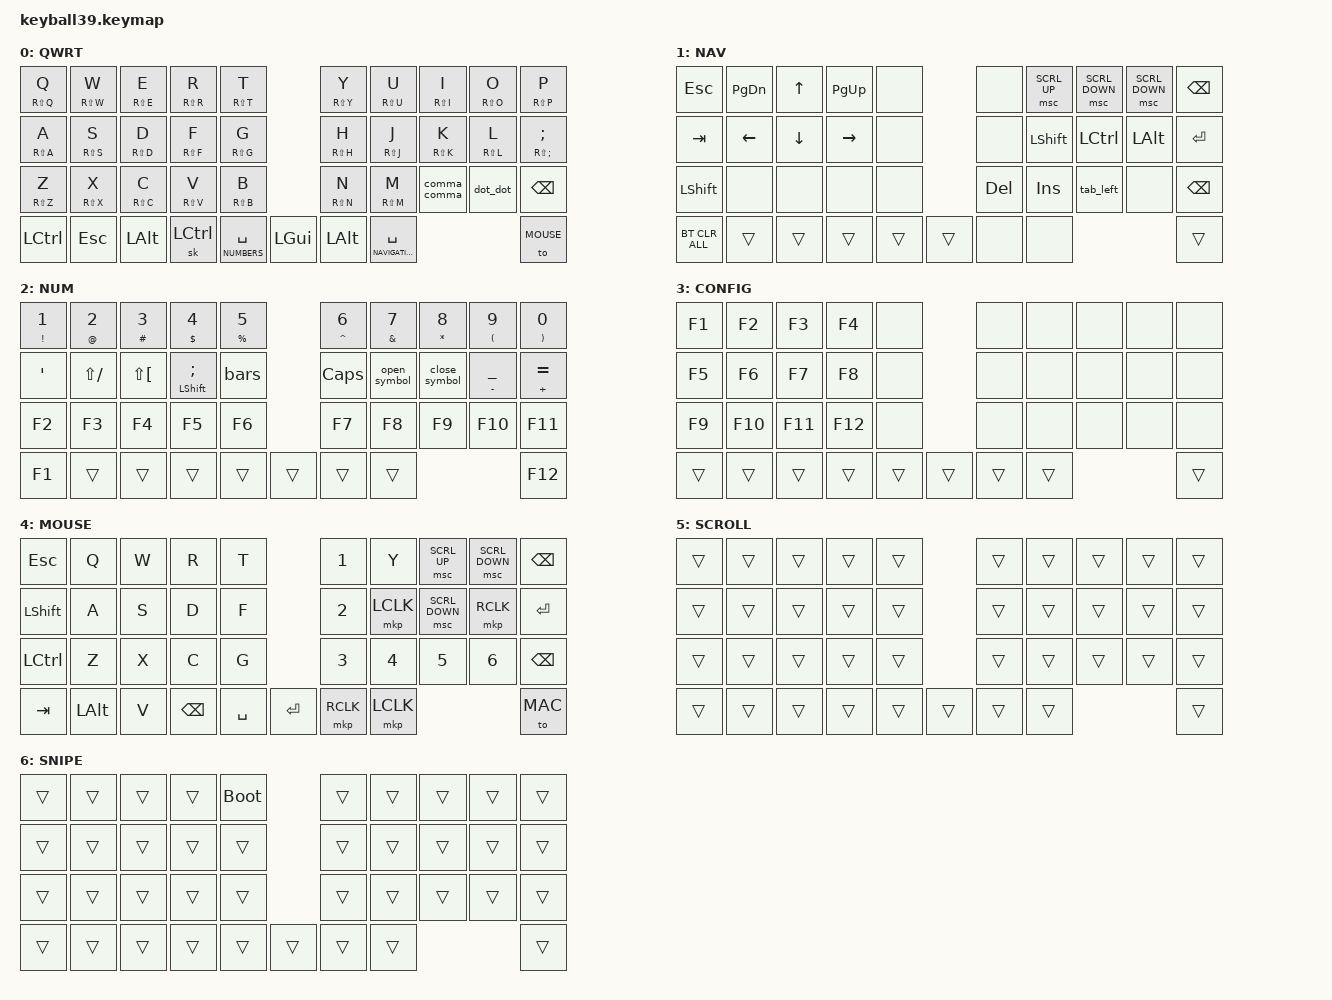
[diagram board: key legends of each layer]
#define MAC 0
#define NAVIGATION 1
#define NUMBERS 2
#define CONFIG 3
#define MOUSE 4


#include <behaviors/mouse_keys.dtsi>
#include <dt-bindings/zmk/mouse.h>
#include <behaviors.dtsi>
#include <dt-bindings/zmk/bt.h>
#include <dt-bindings/zmk/keys.h>

&lt {
    tapping-term-ms = <240>;
    flavor = "balanced";
    quick-tap-ms = <150>;
};

&mt {
    tapping-term-ms = <200>;
    flavor = "tap-preferred";
    quick-tap-ms = <150>;
};

&caps_word { continue-list = <UNDERSCORE MINUS>; };

/ {
    // custom shift using mod-morph

    behaviors {
        cmqus: comma_question {
            compatible = "zmk,behavior-mod-morph";
            label = "COMMA_QUESTION";
            #binding-cells = <0>;
            bindings = <&kp COMMA>, <&kp QUESTION>;
            mods = <(MOD_LSFT|MOD_RSFT)>;
        };

        dtsmi: dot_semi {
            compatible = "zmk,behavior-mod-morph";
            label = "DOT_SEMI";
            #binding-cells = <0>;
            bindings = <&kp DOT>, <&kp SEMI>;
            mods = <(MOD_LSFT|MOD_RSFT)>;
        };

        open_symbol: td_open {
            compatible = "zmk,behavior-tap-dance";
            label = "TD_OPEN";
            #binding-cells = <0>;
            tapping-term-ms = <200>;
            bindings = <&kp RS(RIGHT_BRACKET)>, <&kp RS(NUMBER_9)>, <&kp RIGHT_BRACKET>, <&kp LT>;
        };

        close_symbol: td_close {
            compatible = "zmk,behavior-tap-dance";
            label = "TD_CLOSE";
            #binding-cells = <0>;
            tapping-term-ms = <200>;
            bindings = <&kp RS(BACKSLASH)>, <&kp RS(NUMBER_0)>, <&kp BACKSLASH>, <&kp GT>;
        };

        dot_dot: dot_dot {
            compatible = "zmk,behavior-tap-dance";
            label = "DOT_DOT";
            #binding-cells = <0>;
            tapping-term-ms = <200>;
            bindings = <&kp PERIOD>, <&kp LS(SLASH)>;
        };

        comma_comma: comma_comma {
            compatible = "zmk,behavior-tap-dance";
            label = "COMMA_COMMA";
            #binding-cells = <0>;
            tapping-term-ms = <200>;
            bindings = <&kp COMMA>, <&kp SLASH>;
        };

        bars: bars {
            compatible = "zmk,behavior-tap-dance";
            label = "BARS";
            #binding-cells = <0>;
            tapping-term-ms = <200>;
            bindings = <&kp KP_SLASH>, <&kp LS(NON_US_BSLH)>, <&kp NON_US_BACKSLASH>;
        };

        // Conditional behavior for tab navigation
        tab_left: tab_left {
            compatible = "zmk,behavior-mod-morph";
            label = "TAB_LEFT";
            #binding-cells = <0>;
            bindings = <&kp LC(PAGE_UP)>, <&kp LG(LA(LEFT))>;
            mods = <(MOD_LGUI)>;
        };

        tab_right: tab_right {
            compatible = "zmk,behavior-mod-morph";
            label = "TAB_RIGHT";
            #binding-cells = <0>;
            bindings = <&kp LC(PAGE_DOWN)>, <&kp LG(LA(RIGHT))>;
            mods = <(MOD_LGUI)>;
        };
    };




    keymap {
        compatible = "zmk,keymap";

        default_layer {
            label = "QWRT";
            bindings = <
                &mt RS(Q) Q            &mt RS(W) W            &mt RS(E) E            &mt RS(R) R            &mt RS(T) T                                            &mt RS(Y) Y             &mt RS(U) U            &mt RS(I) I            &mt RS(O) O            &mt RS(P) P
                &mt RS(A) A            &mt RS(S) S            &mt RS(D) D            &mt RS(F) F            &mt RS(G) G                                            &mt RS(H) H             &mt RS(J) J            &mt RS(K) K            &mt RS(L) L            &mt RS(SEMI) SEMI
                &mt RS(Z) Z            &mt RS(X) X            &mt RS(C) C            &mt RS(V) V            &mt RS(B) B                                            &mt RS(N) N             &mt RS(M) M            &comma_comma           &dot_dot               &kp BSPC
                &kp LCTRL              &kp ESC                &kp LALT               &sk LEFT_CONTROL       &lt NUMBERS SPACE  &kp LEFT_GUI                        &kp LALT                &lt NAVIGATION SPACE                                                 &to MOUSE

            >;
        };

        navigation_layer {
            label = "NAV";
            bindings = <
                &kp ESC                &kp PAGE_DOWN          &kp UP                 &kp PAGE_UP            &none                                                   &none                  &msc SCRL_UP           &msc SCRL_DOWN         &msc SCRL_DOWN         &kp BSPC
                &kp TAB                &kp LEFT               &kp DOWN               &kp RIGHT              &none                                                   &none                  &kp LEFT_SHIFT         &kp LEFT_CONTROL       &kp LALT               &kp RETURN
                &kp LSHIFT             &none                  &none                  &none                  &none                                                   &kp DEL                &kp INSERT             &tab_left              &none                  &kp BSPC
                &bt BT_CLR_ALL             &trans                 &trans                 &trans                 &trans             &trans                               &none                  &none                                                                &trans
             >;
        };


        number_layer {
            label = "NUM";
            bindings = <
                &mt EXCLAMATION NUMBER_1            &mt AT_SIGN NUMBER_2            &mt HASH NUMBER_3            &mt DOLLAR NUMBER_4                  &mt PERCENT NUMBER_5                              &mt CARET NUMBER_6                  &mt AMPERSAND NUMBER_7                  &mt ASTERISK NUMBER_8                  &mt LEFT_PARENTHESIS NUMBER_9                  &mt RIGHT_PARENTHESIS NUMBER_0
                &kp SINGLE_QUOTE                    &kp LS(SLASH)                   &kp LS(LEFT_BRACKET)         &mt LEFT_SHIFT SEMICOLON             &bars                                             &kp CAPS                            &open_symbol                            &close_symbol                          &mt MINUS UNDER                                &mt PLUS EQUAL
                &kp F2                              &kp F3                          &kp F4                       &kp F5                               &kp F6                                            &kp F7                              &kp F8                                  &kp F9                                 &kp F10                                        &kp F11
                &kp F1                              &trans                          &trans                       &trans                              &trans                                             &trans                              &trans                                  &trans                                                                                &kp F12
            >;
        };


         config_layer {
            label = "CONFIG";
            bindings = <
                &kp F1                 &kp F2                 &kp F3                 &kp F4                 &none                                                 &none                  &none                  &none                  &none                  &none
                &kp F5                 &kp F6                 &kp F7                 &kp F8                 &none                                                 &none                  &none                  &none                  &none                  &none
                &kp F9                 &kp F10                &kp F11                &kp F12                &none                                                 &none                  &none                  &none                  &none                  &none
                &trans                 &trans                 &trans                 &trans                 &trans                 &trans                         &trans                 &trans                 &trans
            >;
        };

        mouse_layer {
            label = "MOUSE";
            bindings = <
                &kp ESC             &kp Q              &kp W             &kp R          &kp T                           &kp NUMBER_1            &kp Y          &msc SCRL_UP       &msc SCRL_DOWN         &kp BSPC
                &kp LSHIFT          &kp A              &kp S             &kp D          &kp F                           &kp NUMBER_2            &mkp LCLK      &msc SCRL_DOWN     &mkp RCLK              &kp RETURN
                &kp LCTRL           &kp Z              &kp X             &kp C          &kp G                           &kp NUMBER_3            &kp NUMBER_4   &kp NUMBER_5       &kp NUMBER_6           &kp BSPC
                &kp TAB             &kp LALT           &kp V             &kp BSPC       &kp SPACE   &kp RETURN          &mkp RCLK  &mkp LCLK                                                             &to MAC
            >;
        };

        scroll_layer {
            label = "SCROLL";
            bindings = <
                &trans                 &trans                 &trans                 &trans                 &trans                                                &trans                 &trans                 &trans                 &trans                 &trans
                &trans                 &trans                 &trans                 &trans                 &trans                                                &trans                 &trans                 &trans                 &trans                 &trans
                &trans                 &trans                 &trans                 &trans                 &trans                                                &trans                 &trans                 &trans                 &trans                 &trans
                &trans                 &trans                 &trans                 &trans                 &trans                 &trans                         &trans                 &trans                 &trans
            >;
        };

        snipe_layer {
            label = "SNIPE";
            bindings = <
                &trans                 &trans                 &trans                 &trans                 &bootloader                                           &trans                 &trans                 &trans                 &trans                 &trans
                &trans                 &trans                 &trans                 &trans                 &trans                                                &trans                 &trans                 &trans                 &trans                 &trans
                &trans                 &trans                 &trans                 &trans                 &trans                                                &trans                 &trans                 &trans                 &trans                 &trans
                &trans                 &trans                 &trans                 &trans                 &trans                 &trans                         &trans                 &trans                 &trans
            >;
        };
    };
};
